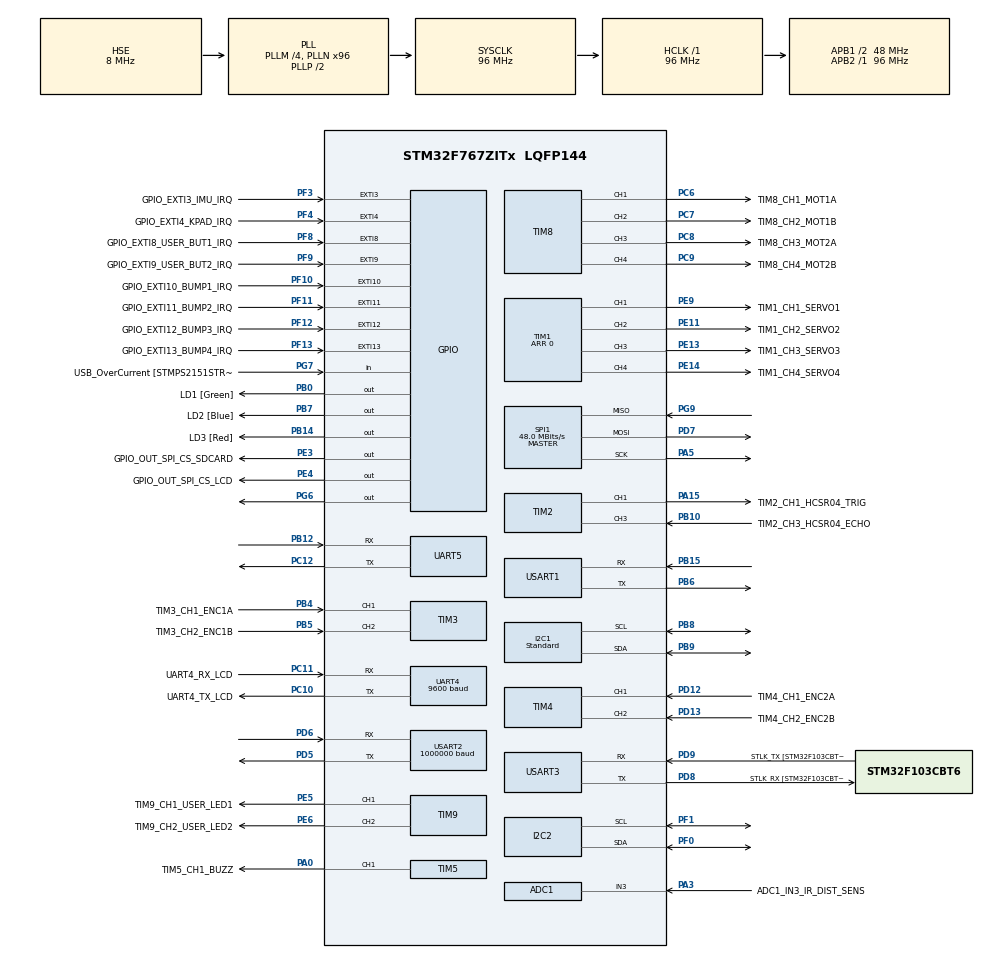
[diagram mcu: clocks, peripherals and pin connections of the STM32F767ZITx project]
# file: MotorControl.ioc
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ADC1.Channel-1\#ChannelRegularConversion=ADC_CHANNEL_3
ADC1.NbrOfConversionFlag=1
ADC1.Rank-1\#ChannelRegularConversion=1
ADC1.SamplingTime-1\#ChannelRegularConversion=ADC_SAMPLETIME_3CYCLES
ADC1.master=1
I2C1.I2C_Speed_Mode=I2C_Standard
I2C1.Timing=0x20303E5D
I2C2.Timing=0x20303E5D
Mcu.Family=STM32F7
Mcu.Name=STM32F767ZITx
Mcu.Package=LQFP144
Mcu.UserConstants=TIM3_ARR_VALUE,3839;TIM4_ARR_VALUE,3839;TIM8_PSC_VALUE,959;TIM8_ARR_VALUE,399;TIM6_PSC_VALUE,959;TIM6_ARR_VALUE,999;TIM1_PSC_VALUE,959;TIM1_ARR_VALUE,1999
NVIC.EXTI4_IRQn=true\:2\:0\:true\:false\:true\:true\:true\:true
NVIC.PriorityGroup=NVIC_PRIORITYGROUP_4
NVIC.TIM6_DAC_IRQn=true\:1\:0\:true\:false\:true\:true\:true\:true
PA0/WKUP.GPIO_Label=TIM5_CH1_BUZZ
PA0/WKUP.Signal=S_TIM5_CH1
PA1.GPIO_Label=RMII_REF_CLK [LAN8742A-CZ-TR_REFCLK0]
PA1.Signal=ETH_REF_CLK
PA10.GPIO_Label=USB_ID
PA10.Signal=USB_OTG_FS_ID
PA11.GPIO_Label=USB_DM
PA11.Signal=USB_OTG_FS_DM
PA12.GPIO_Label=USB_DP
PA12.Signal=USB_OTG_FS_DP
PA13.GPIO_Label=TMS
PA13.Mode=Serial_Wire
PA13.Signal=SYS_JTMS-SWDIO
PA14.GPIO_Label=TCK
PA14.Mode=Serial_Wire
PA14.Signal=SYS_JTCK-SWCLK
PA15.GPIO_Label=TIM2_CH1_HCSR04_TRIG
PA15.Signal=S_TIM2_CH1_ETR
PA2.GPIO_Label=RMII_MDIO [LAN8742A-CZ-TR_MDIO]
PA2.Signal=ETH_MDIO
PA3.GPIO_Label=ADC1_IN3_IR_DIST_SENS
PA3.Signal=ADCx_IN3
PA5.Mode=Full_Duplex_Master
PA5.Signal=SPI1_SCK
PA7.GPIO_Label=RMII_CRS_DV [LAN8742A-CZ-TR_CRS_DV]
PA7.Signal=ETH_CRS_DV
PA8.GPIO_Label=USB_SOF [TP1]
PA8.Signal=USB_OTG_FS_SOF
PA9.GPIO_Label=USB_VBUS
PA9.Signal=USB_OTG_FS_VBUS
PB0.GPIO_Label=LD1 [Green]
PB0.Signal=GPIO_Output
PB10.GPIO_Label=TIM2_CH3_HCSR04_ECHO
PB10.Signal=S_TIM2_CH3
PB12.Mode=Asynchronous
PB12.Signal=UART5_RX
PB13.GPIO_Label=RMII_TXD1 [LAN8742A-CZ-TR_TXD1]
PB13.Signal=ETH_TXD1
PB14.GPIO_Label=LD3 [Red]
PB14.Signal=GPIO_Output
PB15.Mode=Asynchronous
PB15.Signal=USART1_RX
PB3.GPIO_Label=SWO
PB3.Signal=SYS_JTDO-SWO
PB4.GPIO_Label=TIM3_CH1_ENC1A
PB4.Signal=S_TIM3_CH1
PB5.GPIO_Label=TIM3_CH2_ENC1B
PB5.Signal=S_TIM3_CH2
PB6.Mode=Asynchronous
PB6.Signal=USART1_TX
PB7.GPIO_Label=LD2 [Blue]
PB7.Signal=GPIO_Output
PB8.GPIO_Pu=GPIO_PULLUP
PB8.Mode=I2C
PB8.Signal=I2C1_SCL
PB9.GPIO_Pu=GPIO_PULLUP
PB9.Mode=I2C
PB9.Signal=I2C1_SDA
PC1.GPIO_Label=RMII_MDC [LAN8742A-CZ-TR_MDC]
PC1.Signal=ETH_MDC
PC10.GPIO_Label=UART4_TX_LCD
PC10.Mode=Asynchronous
PC10.Signal=UART4_TX
PC11.GPIO_Label=UART4_RX_LCD
PC11.Mode=Asynchronous
PC11.Signal=UART4_RX
PC12.Mode=Asynchronous
PC12.Signal=UART5_TX
PC14/OSC32_IN.Mode=LSE-External-Oscillator
PC14/OSC32_IN.Signal=RCC_OSC32_IN
PC15/OSC32_OUT.Mode=LSE-External-Oscillator
PC15/OSC32_OUT.Signal=RCC_OSC32_OUT
PC4.GPIO_Label=RMII_RXD0 [LAN8742A-CZ-TR_RXD0]
PC4.Signal=ETH_RXD0
PC5.GPIO_Label=RMII_RXD1 [LAN8742A-CZ-TR_RXD1]
PC5.Signal=ETH_RXD1
PC6.GPIO_Label=TIM8_CH1_MOT1A
PC6.Signal=S_TIM8_CH1
PC7.GPIO_Label=TIM8_CH2_MOT1B
PC7.Signal=S_TIM8_CH2
PC8.GPIO_Label=TIM8_CH3_MOT2A
PC8.Signal=S_TIM8_CH3
PC9.GPIO_Label=TIM8_CH4_MOT2B
PC9.Signal=S_TIM8_CH4
PD12.GPIO_Label=TIM4_CH1_ENC2A
PD12.Signal=S_TIM4_CH1
PD13.GPIO_Label=TIM4_CH2_ENC2B
PD13.Signal=S_TIM4_CH2
PD5.Mode=Asynchronous
PD5.Signal=USART2_TX
PD6.Mode=Asynchronous
PD6.Signal=USART2_RX
PD7.Mode=Full_Duplex_Master
PD7.Signal=SPI1_MOSI
PD8.GPIO_Label=STLK_RX [STM32F103CBT6_PA3]
PD8.Mode=Asynchronous
PD8.Signal=USART3_TX
PD9.GPIO_Label=STLK_TX [STM32F103CBT6_PA2]
PD9.Mode=Asynchronous
PD9.Signal=USART3_RX
PE11.GPIO_Label=TIM1_CH2_SERVO2
PE11.Signal=S_TIM1_CH2
PE13.GPIO_Label=TIM1_CH3_SERVO3
PE13.Signal=S_TIM1_CH3
PE14.GPIO_Label=TIM1_CH4_SERVO4
PE14.Signal=S_TIM1_CH4
PE3.GPIO_Label=GPIO_OUT_SPI_CS_SDCARD
PE3.Signal=GPIO_Output
PE4.GPIO_Label=GPIO_OUT_SPI_CS_LCD
PE4.Signal=GPIO_Output
PE5.GPIO_Label=TIM9_CH1_USER_LED1
PE5.Signal=S_TIM9_CH1
PE6.GPIO_Label=TIM9_CH2_USER_LED2
PE6.Signal=S_TIM9_CH2
PE9.GPIO_Label=TIM1_CH1_SERVO1
PE9.Signal=S_TIM1_CH1
PF0.GPIO_Pu=GPIO_PULLUP
PF0.Mode=I2C
PF0.Signal=I2C2_SDA
PF1.GPIO_Pu=GPIO_PULLUP
PF1.Mode=I2C
PF1.Signal=I2C2_SCL
PF10.GPIO_Label=GPIO_EXTI10_BUMP1_IRQ
PF10.Signal=GPXTI10
PF11.GPIO_Label=GPIO_EXTI11_BUMP2_IRQ
PF11.Signal=GPXTI11
PF12.GPIO_Label=GPIO_EXTI12_BUMP3_IRQ
PF12.Signal=GPXTI12
PF13.GPIO_Label=GPIO_EXTI13_BUMP4_IRQ
PF13.Signal=GPXTI13
PF3.GPIO_Label=GPIO_EXTI3_IMU_IRQ
PF3.Signal=GPXTI3
PF4.GPIO_Label=GPIO_EXTI4_KPAD_IRQ
PF4.GPIO_ModeDefaultEXTI=GPIO_MODE_IT_FALLING
PF4.Signal=GPXTI4
PF8.GPIO_Label=GPIO_EXTI8_USER_BUT1_IRQ
PF8.Signal=GPXTI8
PF9.GPIO_Label=GPIO_EXTI9_USER_BUT2_IRQ
PF9.Signal=GPXTI9
PG11.GPIO_Label=RMII_TX_EN [LAN8742A-CZ-TR_TXEN]
PG11.Signal=ETH_TX_EN
PG13.GPIO_Label=RMII_TXD0 [LAN8742A-CZ-TR_TXD0]
PG13.Signal=ETH_TXD0
PG6.Signal=GPIO_Output
PG7.GPIO_Label=USB_OverCurrent [STMPS2151STR_FAULT]
PG7.Signal=GPIO_Input
PG9.Mode=Full_Duplex_Master
PG9.Signal=SPI1_MISO
PH0/OSC_IN.GPIO_Label=MCO [STM32F103CBT6_PA8]
PH0/OSC_IN.Mode=HSE-External-Clock-Source
PH0/OSC_IN.Signal=RCC_OSC_IN
PH1/OSC_OUT.Mode=HSE-External-Clock-Source
PH1/OSC_OUT.Signal=RCC_OSC_OUT
ProjectManager.HeapSize=0x200
ProjectManager.StackSize=0x400
ProjectManager.TargetToolchain=STM32CubeIDE
RCC.48MHZClocksFreq_Value=24000000
RCC.AHBFreq_Value=96000000
RCC.APB1CLKDivider=RCC_HCLK_DIV2
RCC.APB1Freq_Value=48000000
RCC.APB1TimFreq_Value=96000000
RCC.APB2Freq_Value=96000000
RCC.APB2TimFreq_Value=96000000
RCC.CortexFreq_Value=96000000
RCC.HCLKFreq_Value=96000000
RCC.HSE_VALUE=8000000
RCC.HSI_VALUE=16000000
RCC.PLLM=4
RCC.PLLMUL=RCC_PLL_MUL9
RCC.PLLN=96
RCC.PLLQ=4
RCC.PLLSourceVirtual=RCC_PLLSOURCE_HSE
RCC.PRESCALERUSB=RCC_USBCLKSOURCE_PLL_DIV1_5
RCC.SYSCLKFreq_VALUE=96000000
RCC.SYSCLKSource=RCC_SYSCLKSOURCE_PLLCLK
RCC.SYSCLKSourceVirtual=RCC_SYSCLKSOURCE_PLLCLK
RCC.USBFreq_Value=48000000
RCC.VCOOutputFreq_Value=192000000
SH.ADCx_IN3.0=ADC1_IN3,IN3
SH.S_TIM1_CH1.0=TIM1_CH1,Forced Output1 CH1
SH.S_TIM1_CH2.0=TIM1_CH2,Forced Output2 CH2
SH.S_TIM1_CH3.0=TIM1_CH3,Forced Output3 CH3
SH.S_TIM1_CH4.0=TIM1_CH4,Forced Output4 CH4
SH.S_TIM2_CH1_ETR.0=TIM2_CH1,PWM Generation1 CH1
SH.S_TIM2_CH3.0=TIM2_CH3,Input_Capture3_from_TI3
SH.S_TIM3_CH1.0=TIM3_CH1,Encoder_Interface
SH.S_TIM3_CH2.0=TIM3_CH2,Encoder_Interface
SH.S_TIM4_CH1.0=TIM4_CH1,Encoder_Interface
SH.S_TIM4_CH2.0=TIM4_CH2,Encoder_Interface
SH.S_TIM5_CH1.0=TIM5_CH1,PWM Generation1 CH1
SH.S_TIM8_CH1.0=TIM8_CH1,PWM Generation1 CH1
SH.S_TIM8_CH2.0=TIM8_CH2,PWM Generation2 CH2
SH.S_TIM8_CH3.0=TIM8_CH3,PWM Generation3 CH3
SH.S_TIM8_CH4.0=TIM8_CH4,PWM Generation4 CH4
SH.S_TIM9_CH1.0=TIM9_CH1,PWM Generation1 CH1
SH.S_TIM9_CH2.0=TIM9_CH2,PWM Generation2 CH2
SPI1.CalculateBaudRate=48.0 MBits/s
SPI1.Direction=SPI_DIRECTION_2LINES
SPI1.Mode=SPI_MODE_MASTER
SPI1.VirtualType=VM_MASTER
TIM1.Channel-Forced\ Output1\ CH1=TIM_CHANNEL_1
TIM1.Channel-Forced\ Output2\ CH2=TIM_CHANNEL_2
TIM1.Channel-Forced\ Output3\ CH3=TIM_CHANNEL_3
TIM1.Channel-Forced\ Output4\ CH4=TIM_CHANNEL_4
TIM1.OCPolarity_1=TIM_OCPOLARITY_LOW
TIM1.OCPolarity_2=TIM_OCPOLARITY_LOW
TIM1.OCPolarity_3=TIM_OCPOLARITY_LOW
TIM1.OCPolarity_4=TIM_OCPOLARITY_LOW
TIM1.Period=0
TIM2.Channel-Input_Capture3_from_TI3=TIM_CHANNEL_3
TIM2.Channel-PWM\ Generation1\ CH1=TIM_CHANNEL_1
TIM3.EncoderMode=TIM_ENCODERMODE_TI12
TIM3.IC1Filter=15
TIM3.IC2Filter=15
TIM3.Period=TIM3_ARR_VALUE
TIM4.EncoderMode=TIM_ENCODERMODE_TI12
TIM4.IC1Filter=15
TIM4.IC2Filter=15
TIM4.Period=TIM4_ARR_VALUE
TIM5.Channel-PWM\ Generation1\ CH1=TIM_CHANNEL_1
TIM6.Period=TIM6_ARR_VALUE
TIM6.Prescaler=TIM6_PSC_VALUE
TIM8.Channel-PWM\ Generation1\ CH1=TIM_CHANNEL_1
TIM8.Channel-PWM\ Generation2\ CH2=TIM_CHANNEL_2
TIM8.Channel-PWM\ Generation3\ CH3=TIM_CHANNEL_3
TIM8.Channel-PWM\ Generation4\ CH4=TIM_CHANNEL_4
TIM8.Period=TIM8_ARR_VALUE
TIM8.Prescaler=TIM8_PSC_VALUE
TIM9.Channel-PWM\ Generation1\ CH1=TIM_CHANNEL_1
TIM9.Channel-PWM\ Generation2\ CH2=TIM_CHANNEL_2
UART4.BaudRate=9600
USART1.VirtualMode-Asynchronous=VM_ASYNC
USART2.BaudRate=1000000
USART2.VirtualMode-Asynchronous=VM_ASYNC
USART3.VirtualMode-Asynchronous=VM_ASYNC
VP_TIM1_VS_ClockSourceINT.Mode=Internal
VP_TIM2_VS_ClockSourceINT.Mode=Internal
VP_TIM5_VS_ClockSourceINT.Mode=Internal
VP_TIM6_VS_ClockSourceINT.Mode=Enable_Timer
VP_TIM8_VS_ClockSourceINT.Mode=Internal
board=NUCLEO-F767ZI

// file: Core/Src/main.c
/* USER CODE BEGIN Header */
/**
 ******************************************************************************
 * @file           : main.c
 * @brief          : Main program body
 ******************************************************************************
 * @attention
 *
 * <h2><center>&copy; Copyright (c) 2021 STMicroelectronics.
 * All rights reserved.</center></h2>
 *
 * This software component is licensed by ST under BSD 3-Clause license,
 * the "License"; You may not use this file except in compliance with the
 * License. You may obtain a copy of the License at:
 *                        opensource.org/licenses/BSD-3-Clause
 *
 ******************************************************************************
 */
/* USER CODE END Header */
#include "main.h"

/* USER CODE BEGIN Includes */
#include <math.h>
#include <stdbool.h>
#include "ertc-datalogger.h"
#include "SX1509_Registers.h"
#include "SX1509_Utils.h"
/* USER CODE END Includes */

/* USER CODE BEGIN PD */
// #define	HAL_TIMEOUT 1
#define TS 0.01
#define KP1 1.6196
#define KI1 8.9979
#define K_AWD1 0.4242611
#define KP2 1.9574
#define KI2 10.8747
#define K_AWD2 0.4242591

#define VBATT 12.0 /* PSU max voltage */
#define V2DUTY ((float)(TIM8_ARR_VALUE + 1) / VBATT)
#define DUTY2V ((float)VBATT / (TIM8_ARR_VALUE + 1))

#define RPM2RADS 2 * M_PI / 60
#define ENC_PPR 3840.0f                   /* encoder counts per wheel revolution (x4 decoding, gearbox included) */
#define DUTY_MAX 0.5f                     /* lab requirement: duty <= 50 % (6 V on 12 V) */
#define U_MAX ((float)(DUTY_MAX * VBATT)) /* 12V / 2 = 6V */

#define MODE_COAST 0 /* Forward/Coast (fast decay) */
#define MODE_BRAKE 1 /* Forward/Brake (slow decay) */
#define DRIVE_MODE MODE_BRAKE

/* H-bridge inputs on TIM8 and motor orientation */
#define M1_IN1_CH TIM_CHANNEL_1 /* motor 1, encoder TIM3 */
#define M1_IN2_CH TIM_CHANNEL_2
#define M2_IN1_CH TIM_CHANNEL_3 /* motor 2, encoder TIM4 */
#define M2_IN2_CH TIM_CHANNEL_4

/* speed reference */
#define W_DEFAULT 0.0f /* default speed, if none of the keys on the keypad have been pressed */
#define W_MAX 16.0f    /* maximum safety limit in rad/s */
/* USER CODE END PD */

ADC_HandleTypeDef hadc1;

I2C_HandleTypeDef hi2c1;
I2C_HandleTypeDef hi2c2;

SPI_HandleTypeDef hspi1;

TIM_HandleTypeDef htim1;
TIM_HandleTypeDef htim2;
TIM_HandleTypeDef htim3;
TIM_HandleTypeDef htim4;
TIM_HandleTypeDef htim5;
TIM_HandleTypeDef htim6;
TIM_HandleTypeDef htim8;
TIM_HandleTypeDef htim9;

UART_HandleTypeDef huart4;
UART_HandleTypeDef huart5;
UART_HandleTypeDef huart1;
UART_HandleTypeDef huart2;
UART_HandleTypeDef huart3;

/* USER CODE BEGIN PV */
struct ertc_dlog logger;
bool reset_PI1 = true;
bool reset_PI2 = true;

const char keypadLayout[4][4] = {
    {'*', '0', '#', 'D'},
    {'7', '8', '9', 'C'},
    {'4', '5', '6', 'B'},
    {'1', '2', '3', 'A'}};

volatile float w_target_1 = W_DEFAULT;
volatile float w_target_2 = W_DEFAULT;

/* variables for composing the number via the keypad */
static int32_t typed_val = 0;    // digits typed so far
static int8_t typed_sign = 1;    // sign typed so far
static bool is_typing = false;   // true while entering a new speed (sign or digits)
static uint8_t target_motor = 0; // 0 = both, 1 = motor 1, 2 = motor 2
/* USER CODE END PV */

void SystemClock_Config(void);
static void MX_GPIO_Init(void);
static void MX_USART3_UART_Init(void);
static void MX_ADC1_Init(void);
static void MX_I2C1_Init(void);
static void MX_I2C2_Init(void);
static void MX_SPI1_Init(void);
static void MX_TIM1_Init(void);
static void MX_TIM2_Init(void);
static void MX_TIM3_Init(void);
static void MX_TIM4_Init(void);
static void MX_TIM5_Init(void);
static void MX_TIM8_Init(void);
static void MX_UART4_Init(void);
static void MX_UART5_Init(void);
static void MX_USART1_UART_Init(void);
static void MX_USART2_UART_Init(void);
static void MX_TIM9_Init(void);
static void MX_TIM6_Init(void);

/* USER CODE BEGIN 0 */

struct datalog
{
  float w1, w2; /* wheel angular speed [rad/s] */
  float u1, u2; /* applied voltage [V]         */
  float p1, i1;
  float p2, i2;
} data;

static uint32_t TIM3_previous_count = 0, TIM4_previous_count = 0;

/* parses keypad characters to select target motor ('A','B','C'),
 * stop ('D'), set sign/reset ('*'), or confirm speed ('#');
 * custom logic adapted from lab1 */
static void updateSpeedReference(char key)
{
  switch (key)
  {
  case 'A': /* select motor 1 */
    target_motor = 1;
    typed_val = 0;
    typed_sign = 1;
    is_typing = false;
    break;

  case 'B': /* select motor 2 */
    target_motor = 2;
    typed_val = 0;
    typed_sign = 1;
    is_typing = false;
    break;

  case 'C': /* select both motors */
    target_motor = 0;
    typed_val = 0;
    typed_sign = 1;
    is_typing = false;
    break;

  case 'D': /* immediate stop (0 rad/s) */
    w_target_1 = 0.0f;
    w_target_2 = 0.0f;
    typed_val = 0;
    typed_sign = 1;
    is_typing = false;
    break;

  case '*': /* if you are not typing, set the sign to '-', otherwise reset the input */
    if (!is_typing)
    {
      typed_sign = -1;
      is_typing = true;
    }
    else
    {
      typed_val = 0;
      typed_sign = 1;
      is_typing = false;
    }
    break;

  case '#': /* confirm the entered value */
    if (!is_typing)
      return;

    float new_ref = (float)(typed_sign * typed_val);
    if (new_ref > W_MAX) // forward
      new_ref = W_MAX;
    if (new_ref < -W_MAX) // reverse
      new_ref = -W_MAX;

    if (target_motor == 1)
      w_target_1 = new_ref;
    else if (target_motor == 2)
      w_target_2 = new_ref;
    else
    {
      w_target_1 = new_ref;
      w_target_2 = new_ref;
    }

    /* reset of the variables */
    typed_val = 0;
    typed_sign = 1;
    is_typing = false;
    break;

  default:
    if (key < '0' || key > '9') // safety check
      return;
    typed_val = typed_val * 10 + (key - '0');
    is_typing = true;
    break;
  }
}

/* external interrupt callback on PF4: reads row/col from SX1509 via I2C
 * and decodes the pressed key (literally copy-paste from lab1) */
void HAL_GPIO_EXTI_Callback(uint16_t GPIO_Pin)
{
  uint8_t data_col = 0xFF; // buffer for the column's data (0xFF = no key, if the read fails)
  uint8_t data_row = 0xFF; // buffer for the row's data
  char key = 0;            // pressed button on the keypad

  if (GPIO_Pin == GPIO_EXTI4_KPAD_IRQ_Pin)
  {
    HAL_I2C_Mem_Read(&hi2c1, SX1509_I2C_ADDR2 << 1, REG_KEY_DATA_1, 1,
                     &data_col, 1, 10);
    HAL_I2C_Mem_Read(&hi2c1, SX1509_I2C_ADDR2 << 1, REG_KEY_DATA_2, 1,
                     &data_row, 1, 10);

    uint8_t row_bits = (data_col & 0b00001111);
    uint8_t col_bits = (data_row & 0b00001111) << 4;
    uint8_t result = row_bits + col_bits;

    switch (result)
    {
    // first row 0b0111
    case 0b01110111:
      key = keypadLayout[3][3];
      break; // A
    case 0b01111011:
      key = keypadLayout[3][2];
      break; // 3
    case 0b01111101:
      key = keypadLayout[3][1];
      break; // 2
    case 0b01111110:
      key = keypadLayout[3][0];
      break; // 1

    // second row 0b1011
    case 0b10110111:
      key = keypadLayout[2][3];
      break; // B
    case 0b10111011:
      key = keypadLayout[2][2];
      break; // 6
    case 0b10111101:
      key = keypadLayout[2][1];
      break; // 5
    case 0b10111110:
      key = keypadLayout[2][0];
      break; // 4

    // third row 0b1101
    case 0b11010111:
      key = keypadLayout[1][3];
      break; // C
    case 0b11011011:
      key = keypadLayout[1][2];
      break; // 9
    case 0b11011101:
      key = keypadLayout[1][1];
      break; // 8
    case 0b11011110:
      key = keypadLayout[1][0];
      break; // 7

    // fourth row 0b1110
    case 0b11100111:
      key = keypadLayout[0][3];
      break; // D
    case 0b11101011:
      key = keypadLayout[0][2];
      break; // #
    case 0b11101101:
      key = keypadLayout[0][1];
      break; // 0
    case 0b11101110:
      key = keypadLayout[0][0];
      break; // *

    default:
      return;
    }

    updateSpeedReference(key);
  }
}

/* 2π * (d / (ARR * TS)) --> converts from encoder counts to rad/s */
static float counts_to_rads(int32_t d)
{
  return (float)(2.0 * M_PI * (double)d / (ENC_PPR * TS));
}

/* encoder delta: compute the difference in tick */
static int32_t enc_delta(TIM_HandleTypeDef *htim, uint32_t *previous_count)
{
  uint32_t current_count = __HAL_TIM_GET_COUNTER(htim);
  int32_t range = (int32_t)__HAL_TIM_GET_AUTORELOAD(htim) + 1;
  int32_t diff_count = 0;

  /* motor control lecture implementations */
  if (__HAL_TIM_IS_TIM_COUNTING_DOWN(htim))
  {
    if (current_count <= *previous_count)
      diff_count = (int32_t)current_count - (int32_t)(*previous_count);
    else
      /* counter underflow */
      diff_count = -(range - (int32_t)current_count) - (int32_t)(*previous_count);
  }
  else /* COUNTING_UP */
  {
    if (current_count >= *previous_count)
      diff_count = (int32_t)current_count - (int32_t)(*previous_count);
    else
      /* counter overflow */
      diff_count = (range - (int32_t)(*previous_count)) + (int32_t)current_count;
  }

  *previous_count = current_count;
  return diff_count;
}

/* clamps voltage to DUTY_MAX and updates TIM8 PWM compare registers
 * according to the selected drive mode (coast or brake) */
static float motor_set_voltage(uint32_t ch_in1, uint32_t ch_in2, float voltage)
{
  float duty = voltage / (float)VBATT; /* signed duty cycle */

  // safety check
  if (duty > DUTY_MAX)
    duty = DUTY_MAX;
  if (duty < -DUTY_MAX)
    duty = -DUTY_MAX;

  uint32_t full = TIM8_ARR_VALUE + 1u; /* ticks per PWM period */
  /* number of ticks "on" for modulation */
  uint32_t on = (uint32_t)(fabsf(duty) * (float)full);
  uint32_t forward_input_ticks, reverse_input_ticks;

#if DRIVE_MODE == MODE_COAST
  /* IN1 = PWM, IN2 = 0: OFF-time -> both low -> coast */
  forward_input_ticks = on;
  reverse_input_ticks = 0;
#else // DRIVE-BRAKE
  /* IN1 = 1, IN2 = inverted PWM: OFF-time -> both high -> brake */
  forward_input_ticks = full;
  reverse_input_ticks = full - on;
#endif

  if (duty >= 0.0f) /* forward */
  {
    __HAL_TIM_SET_COMPARE(&htim8, ch_in1, forward_input_ticks);
    __HAL_TIM_SET_COMPARE(&htim8, ch_in2, reverse_input_ticks);
  }
  else /* reverse */
  {
    __HAL_TIM_SET_COMPARE(&htim8, ch_in1, reverse_input_ticks);
    __HAL_TIM_SET_COMPARE(&htim8, ch_in2, forward_input_ticks);
  }

  return duty * (float)VBATT; // return the voltage correspondant to the duty cycle
}

/* motor 1 controller */
float PI1(float error)
{
  static float I1 = 0.0f;
  float e_s = 0.0f;
  float P = KP1 * error;

  if (reset_PI1)
  {
    I1 = 0.0f;
    reset_PI1 = false;
  }

  float I1_pred = I1 + KI1 * error * TS;

  data.p1 = P;
  data.i1 = I1;

  float voltage = P + I1_pred;

  /* anti-windup */
  if (voltage > U_MAX)
  {
    e_s = voltage - U_MAX;
    I1 += KI1 * (error - K_AWD1 * e_s) * TS;
  }
  else if (voltage < -U_MAX)
  {
    e_s = voltage + U_MAX;
    I1 += KI1 * (error - K_AWD1 * e_s) * TS;
  }
  else
  {
    I1 += KI1 * error * TS;
  }

  voltage = P + I1;
  return voltage;
}

/* motor 2 controller */
float PI2(float error)
{
  static float I2 = 0.0f;
  float e_s = 0.0f;
  float P = KP2 * error;

  if (reset_PI2)
  {
    I2 = 0.0f;
    reset_PI2 = false;
  }

  float I2_pred = I2 + KI2 * error * TS;

  data.p2 = P;
  data.i2 = I2;

  float voltage = P + I2_pred;

  /* anti-windup */
  if (voltage > U_MAX)
  {
    e_s = voltage - U_MAX;
    I2 += KI2 * (error - K_AWD2 * e_s) * TS;
  }
  else if (voltage < -U_MAX)
  {
    e_s = voltage + U_MAX;
    I2 += KI2 * (error - K_AWD2 * e_s) * TS;
  }
  else
  {
    I2 += KI2 * error * TS;
  }

  voltage = P + I2;
  return voltage;
}

void HAL_TIM_PeriodElapsedCallback(TIM_HandleTypeDef *htim)
{
  static int kLed = 0;

  /* speed ctrl routine */
  if (htim->Instance == TIM6)
  {
    /* PI controller implentation */
    float w1_measured = counts_to_rads(enc_delta(&htim3, &TIM3_previous_count));
    float w2_measured = counts_to_rads(enc_delta(&htim4, &TIM4_previous_count));

    static float w1_ref = 0.0f;
    static float w2_ref = 0.0f;

    if (logger.tx_enable)
    {
      w1_ref = w_target_1;
      w2_ref = w_target_2;
    }
    else
    {
      w1_ref = 0.0f;
      w2_ref = 0.0f;
      reset_PI1 = true; /* I1 = 0 */
      reset_PI2 = true; /* I2 = 0 */
    }

    /* computing the speed error */
    float w1_diff = w1_ref - w1_measured;
    float w2_diff = w2_ref - w2_measured;

    /* take the voltage reference from the PI, one for every motors */
    float v1_ref = PI1(w1_diff);
    float v2_ref = PI2(w2_diff);

    /* set the voltages */
    float u1 = motor_set_voltage(M1_IN1_CH, M1_IN2_CH, v1_ref);
    float u2 = motor_set_voltage(M2_IN1_CH, M2_IN2_CH, v2_ref);

    data.w1 = w1_measured;
    data.w2 = w2_measured;
    data.u1 = u1;
    data.u2 = u2;

    ertc_dlog_send(&logger, &data, sizeof(data));

    // indicate that the program is running
    if (++kLed >= 10)
    {
      kLed = 0;
      HAL_GPIO_TogglePin(LD2_GPIO_Port, LD2_Pin);
    }
  }
}
/* USER CODE END 0 */

int main(void)
{

  /* MCU Configuration--------------------------------------------------------*/

  /* Reset of all peripherals, Initializes the Flash interface and the Systick. */
  HAL_Init();

  /* Configure the system clock */
  SystemClock_Config();

  /* Initialize all configured peripherals */
  MX_GPIO_Init();
  MX_USART3_UART_Init();
  MX_ADC1_Init();
  MX_I2C1_Init();
  MX_I2C2_Init();
  MX_SPI1_Init();
  MX_TIM1_Init();
  MX_TIM2_Init();
  MX_TIM3_Init();
  MX_TIM4_Init();
  MX_TIM5_Init();
  MX_TIM8_Init();
  MX_UART4_Init();
  MX_UART5_Init();
  MX_USART1_UART_Init();
  MX_USART2_UART_Init();
  MX_TIM9_Init();
  MX_TIM6_Init();
  /* USER CODE BEGIN 2 */

  logger.uart_handle = huart3; // for serial
  // logger.uart_handle = huart2; // for wifi

  /* Reset LCD */
  HAL_GPIO_WritePin(GPIO_OUT_SPI_CS_LCD_GPIO_Port, GPIO_OUT_SPI_CS_LCD_Pin,
                    GPIO_PIN_SET);

  HAL_Delay(1000);

  /* initialize SX1509 (keypad + line sensor) */
  Init_SX1509();

  /* Start encoders timers */
  HAL_TIM_Encoder_Start(&htim3, TIM_CHANNEL_ALL);
  HAL_TIM_Encoder_Start(&htim4, TIM_CHANNEL_ALL);
  TIM3_previous_count = __HAL_TIM_GET_COUNTER(&htim3); /* avoid a speed spike at start */
  TIM4_previous_count = __HAL_TIM_GET_COUNTER(&htim4);

  /* Start servomotors PWM (avoid floating inputs to servomotors) */
  HAL_TIM_PWM_Start(&htim1, TIM_CHANNEL_1);
  HAL_TIM_PWM_Start(&htim1, TIM_CHANNEL_2);
  HAL_TIM_PWM_Start(&htim1, TIM_CHANNEL_3);
  HAL_TIM_PWM_Start(&htim1, TIM_CHANNEL_4);

  /* Start motor PWM */
  __HAL_TIM_SET_COMPARE(&htim8, TIM_CHANNEL_1, 0);
  __HAL_TIM_SET_COMPARE(&htim8, TIM_CHANNEL_2, 0);
  __HAL_TIM_SET_COMPARE(&htim8, TIM_CHANNEL_3, 0);
  __HAL_TIM_SET_COMPARE(&htim8, TIM_CHANNEL_4, 0);

  HAL_TIM_PWM_Start(&htim8, TIM_CHANNEL_1);
  HAL_TIM_PWM_Start(&htim8, TIM_CHANNEL_2);
  HAL_TIM_PWM_Start(&htim8, TIM_CHANNEL_3);
  HAL_TIM_PWM_Start(&htim8, TIM_CHANNEL_4);

  // both motors at 0 V in the selected drive mode
  motor_set_voltage(M1_IN1_CH, M1_IN2_CH, 0.0f);
  motor_set_voltage(M2_IN1_CH, M2_IN2_CH, 0.0f);

  /* Start speed ctrl ISR */
  HAL_TIM_Base_Start_IT(&htim6);

  /* USER CODE END 2 */

  /* Infinite loop */
  while (1)
  {

    /* USER CODE BEGIN 3 */
    ertc_dlog_update(&logger);
  }
  /* USER CODE END 3 */
}

void SystemClock_Config(void)
{
  RCC_OscInitTypeDef RCC_OscInitStruct = {0};
  RCC_ClkInitTypeDef RCC_ClkInitStruct = {0};

  /** Configure LSE Drive Capability
   */
  HAL_PWR_EnableBkUpAccess();

  /** Configure the main internal regulator output voltage
   */
  __HAL_RCC_PWR_CLK_ENABLE();
  __HAL_PWR_VOLTAGESCALING_CONFIG(PWR_REGULATOR_VOLTAGE_SCALE3);

  /** Initializes the RCC Oscillators according to the specified parameters
   * in the RCC_OscInitTypeDef structure.
   */
  RCC_OscInitStruct.OscillatorType = RCC_OSCILLATORTYPE_HSE;
  RCC_OscInitStruct.HSEState = RCC_HSE_BYPASS;
  RCC_OscInitStruct.PLL.PLLState = RCC_PLL_ON;
  RCC_OscInitStruct.PLL.PLLSource = RCC_PLLSOURCE_HSE;
  RCC_OscInitStruct.PLL.PLLM = 4;
  RCC_OscInitStruct.PLL.PLLN = 96;
  RCC_OscInitStruct.PLL.PLLP = RCC_PLLP_DIV2;
  RCC_OscInitStruct.PLL.PLLQ = 4;
  RCC_OscInitStruct.PLL.PLLR = 2;
  if (HAL_RCC_OscConfig(&RCC_OscInitStruct) != HAL_OK)
  {
    Error_Handler();
  }

  /** Activate the Over-Drive mode
   */
  if (HAL_PWREx_EnableOverDrive() != HAL_OK)
  {
    Error_Handler();
  }

  /** Initializes the CPU, AHB and APB buses clocks
   */
  RCC_ClkInitStruct.ClockType = RCC_CLOCKTYPE_HCLK | RCC_CLOCKTYPE_SYSCLK | RCC_CLOCKTYPE_PCLK1 | RCC_CLOCKTYPE_PCLK2;
  RCC_ClkInitStruct.SYSCLKSource = RCC_SYSCLKSOURCE_PLLCLK;
  RCC_ClkInitStruct.AHBCLKDivider = RCC_SYSCLK_DIV1;
  RCC_ClkInitStruct.APB1CLKDivider = RCC_HCLK_DIV2;
  RCC_ClkInitStruct.APB2CLKDivider = RCC_HCLK_DIV1;

  if (HAL_RCC_ClockConfig(&RCC_ClkInitStruct, FLASH_LATENCY_3) != HAL_OK)
  {
    Error_Handler();
  }
}

static void MX_ADC1_Init(void)
{

  ADC_ChannelConfTypeDef sConfig = {0};

  /** Configure the global features of the ADC (Clock, Resolution, Data Alignment and number of conversion)
   */
  hadc1.Instance = ADC1;
  hadc1.Init.ClockPrescaler = ADC_CLOCK_SYNC_PCLK_DIV4;
  hadc1.Init.Resolution = ADC_RESOLUTION_12B;
  hadc1.Init.ScanConvMode = ADC_SCAN_DISABLE;
  hadc1.Init.ContinuousConvMode = DISABLE;
  hadc1.Init.DiscontinuousConvMode = DISABLE;
  hadc1.Init.ExternalTrigConvEdge = ADC_EXTERNALTRIGCONVEDGE_NONE;
  hadc1.Init.ExternalTrigConv = ADC_SOFTWARE_START;
  hadc1.Init.DataAlign = ADC_DATAALIGN_RIGHT;
  hadc1.Init.NbrOfConversion = 1;
  hadc1.Init.DMAContinuousRequests = DISABLE;
  hadc1.Init.EOCSelection = ADC_EOC_SINGLE_CONV;
  if (HAL_ADC_Init(&hadc1) != HAL_OK)
  {
    Error_Handler();
  }

  /** Configure for the selected ADC regular channel its corresponding rank in the sequencer and its sample time.
   */
  sConfig.Channel = ADC_CHANNEL_3;
  sConfig.Rank = ADC_REGULAR_RANK_1;
  sConfig.SamplingTime = ADC_SAMPLETIME_3CYCLES;
  if (HAL_ADC_ConfigChannel(&hadc1, &sConfig) != HAL_OK)
  {
    Error_Handler();
  }
}

static void MX_I2C1_Init(void)
{

  hi2c1.Instance = I2C1;
  hi2c1.Init.Timing = 0x20303E5D;
  hi2c1.Init.OwnAddress1 = 0;
  hi2c1.Init.AddressingMode = I2C_ADDRESSINGMODE_7BIT;
  hi2c1.Init.DualAddressMode = I2C_DUALADDRESS_DISABLE;
  hi2c1.Init.OwnAddress2 = 0;
  hi2c1.Init.OwnAddress2Masks = I2C_OA2_NOMASK;
  hi2c1.Init.GeneralCallMode = I2C_GENERALCALL_DISABLE;
  hi2c1.Init.NoStretchMode = I2C_NOSTRETCH_DISABLE;
  if (HAL_I2C_Init(&hi2c1) != HAL_OK)
  {
    Error_Handler();
  }

  /** Configure Analogue filter
   */
  if (HAL_I2CEx_ConfigAnalogFilter(&hi2c1, I2C_ANALOGFILTER_ENABLE) != HAL_OK)
  {
    Error_Handler();
  }

  /** Configure Digital filter
   */
  if (HAL_I2CEx_ConfigDigitalFilter(&hi2c1, 0) != HAL_OK)
  {
    Error_Handler();
  }
}

static void MX_I2C2_Init(void)
{

  hi2c2.Instance = I2C2;
  hi2c2.Init.Timing = 0x20303E5D;
  hi2c2.Init.OwnAddress1 = 0;
  hi2c2.Init.AddressingMode = I2C_ADDRESSINGMODE_7BIT;
  hi2c2.Init.DualAddressMode = I2C_DUALADDRESS_DISABLE;
  hi2c2.Init.OwnAddress2 = 0;
  hi2c2.Init.OwnAddress2Masks = I2C_OA2_NOMASK;
  hi2c2.Init.GeneralCallMode = I2C_GENERALCALL_DISABLE;
  hi2c2.Init.NoStretchMode = I2C_NOSTRETCH_DISABLE;
  if (HAL_I2C_Init(&hi2c2) != HAL_OK)
  {
    Error_Handler();
  }

  /** Configure Analogue filter
   */
  if (HAL_I2CEx_ConfigAnalogFilter(&hi2c2, I2C_ANALOGFILTER_ENABLE) != HAL_OK)
  {
    Error_Handler();
  }

  /** Configure Digital filter
   */
  if (HAL_I2CEx_ConfigDigitalFilter(&hi2c2, 0) != HAL_OK)
  {
    Error_Handler();
  }
}

static void MX_SPI1_Init(void)
{

  /* SPI1 parameter configuration*/
  hspi1.Instance = SPI1;
  hspi1.Init.Mode = SPI_MODE_MASTER;
  hspi1.Init.Direction = SPI_DIRECTION_2LINES;
  hspi1.Init.DataSize = SPI_DATASIZE_4BIT;
  hspi1.Init.CLKPolarity = SPI_POLARITY_LOW;
  hspi1.Init.CLKPhase = SPI_PHASE_1EDGE;
  hspi1.Init.NSS = SPI_NSS_SOFT;
  hspi1.Init.BaudRatePrescaler = SPI_BAUDRATEPRESCALER_2;
  hspi1.Init.FirstBit = SPI_FIRSTBIT_MSB;
  hspi1.Init.TIMode = SPI_TIMODE_DISABLE;
  hspi1.Init.CRCCalculation = SPI_CRCCALCULATION_DISABLE;
  hspi1.Init.CRCPolynomial = 7;
  hspi1.Init.CRCLength = SPI_CRC_LENGTH_DATASIZE;
  hspi1.Init.NSSPMode = SPI_NSS_PULSE_ENABLE;
  if (HAL_SPI_Init(&hspi1) != HAL_OK)
  {
    Error_Handler();
  }
}

static void MX_TIM1_Init(void)
{

  TIM_ClockConfigTypeDef sClockSourceConfig = {0};
  TIM_MasterConfigTypeDef sMasterConfig = {0};
  TIM_OC_InitTypeDef sConfigOC = {0};
  TIM_BreakDeadTimeConfigTypeDef sBreakDeadTimeConfig = {0};

  htim1.Instance = TIM1;
  htim1.Init.Prescaler = 0;
  htim1.Init.CounterMode = TIM_COUNTERMODE_UP;
  htim1.Init.Period = 0;
  htim1.Init.ClockDivision = TIM_CLOCKDIVISION_DIV1;
  htim1.Init.RepetitionCounter = 0;
  htim1.Init.AutoReloadPreload = TIM_AUTORELOAD_PRELOAD_DISABLE;
  if (HAL_TIM_Base_Init(&htim1) != HAL_OK)
  {
    Error_Handler();
  }
  sClockSourceConfig.ClockSource = TIM_CLOCKSOURCE_INTERNAL;
  if (HAL_TIM_ConfigClockSource(&htim1, &sClockSourceConfig) != HAL_OK)
  {
    Error_Handler();
  }
  if (HAL_TIM_OC_Init(&htim1) != HAL_OK)
  {
    Error_Handler();
  }
  sMasterConfig.MasterOutputTrigger = TIM_TRGO_RESET;
  sMasterConfig.MasterOutputTrigger2 = TIM_TRGO2_RESET;
  sMasterConfig.MasterSlaveMode = TIM_MASTERSLAVEMODE_DISABLE;
  if (HAL_TIMEx_MasterConfigSynchronization(&htim1, &sMasterConfig) != HAL_OK)
  {
    Error_Handler();
  }
  sConfigOC.OCMode = TIM_OCMODE_FORCED_ACTIVE;
  sConfigOC.Pulse = 0;
  sConfigOC.OCPolarity = TIM_OCPOLARITY_LOW;
  sConfigOC.OCNPolarity = TIM_OCNPOLARITY_HIGH;
  sConfigOC.OCFastMode = TIM_OCFAST_DISABLE;
  sConfigOC.OCIdleState = TIM_OCIDLESTATE_RESET;
  sConfigOC.OCNIdleState = TIM_OCNIDLESTATE_RESET;
  if (HAL_TIM_OC_ConfigChannel(&htim1, &sConfigOC, TIM_CHANNEL_1) != HAL_OK)
  {
    Error_Handler();
  }
  if (HAL_TIM_OC_ConfigChannel(&htim1, &sConfigOC, TIM_CHANNEL_2) != HAL_OK)
  {
    Error_Handler();
  }
  if (HAL_TIM_OC_ConfigChannel(&htim1, &sConfigOC, TIM_CHANNEL_3) != HAL_OK)
  {
    Error_Handler();
  }
  if (HAL_TIM_OC_ConfigChannel(&htim1, &sConfigOC, TIM_CHANNEL_4) != HAL_OK)
  {
    Error_Handler();
  }
  sBreakDeadTimeConfig.OffStateRunMode = TIM_OSSR_DISABLE;
  sBreakDeadTimeConfig.OffStateIDLEMode = TIM_OSSI_DISABLE;
  sBreakDeadTimeConfig.LockLevel = TIM_LOCKLEVEL_OFF;
  sBreakDeadTimeConfig.DeadTime = 0;
  sBreakDeadTimeConfig.BreakState = TIM_BREAK_DISABLE;
  sBreakDeadTimeConfig.BreakPolarity = TIM_BREAKPOLARITY_HIGH;
  sBreakDeadTimeConfig.BreakFilter = 0;
  sBreakDeadTimeConfig.Break2State = TIM_BREAK2_DISABLE;
  sBreakDeadTimeConfig.Break2Polarity = TIM_BREAK2POLARITY_HIGH;
  sBreakDeadTimeConfig.Break2Filter = 0;
  sBreakDeadTimeConfig.AutomaticOutput = TIM_AUTOMATICOUTPUT_DISABLE;
  if (HAL_TIMEx_ConfigBreakDeadTime(&htim1, &sBreakDeadTimeConfig) != HAL_OK)
  {
    Error_Handler();
  }
  HAL_TIM_MspPostInit(&htim1);
}

static void MX_TIM2_Init(void)
{

  TIM_ClockConfigTypeDef sClockSourceConfig = {0};
  TIM_MasterConfigTypeDef sMasterConfig = {0};
  TIM_OC_InitTypeDef sConfigOC = {0};
  TIM_IC_InitTypeDef sConfigIC = {0};

  htim2.Instance = TIM2;
  htim2.Init.Prescaler = 0;
  htim2.Init.CounterMode = TIM_COUNTERMODE_UP;
  htim2.Init.Period = 4294967295;
  htim2.Init.ClockDivision = TIM_CLOCKDIVISION_DIV1;
  htim2.Init.AutoReloadPreload = TIM_AUTORELOAD_PRELOAD_DISABLE;
  if (HAL_TIM_Base_Init(&htim2) != HAL_OK)
  {
    Error_Handler();
  }
  sClockSourceConfig.ClockSource = TIM_CLOCKSOURCE_INTERNAL;
  if (HAL_TIM_ConfigClockSource(&htim2, &sClockSourceConfig) != HAL_OK)
  {
    Error_Handler();
  }
  if (HAL_TIM_PWM_Init(&htim2) != HAL_OK)
  {
    Error_Handler();
  }
  if (HAL_TIM_IC_Init(&htim2) != HAL_OK)
  {
    Error_Handler();
  }
  sMasterConfig.MasterOutputTrigger = TIM_TRGO_RESET;
  sMasterConfig.MasterSlaveMode = TIM_MASTERSLAVEMODE_DISABLE;
  if (HAL_TIMEx_MasterConfigSynchronization(&htim2, &sMasterConfig) != HAL_OK)
  {
    Error_Handler();
  }
  sConfigOC.OCMode = TIM_OCMODE_PWM1;
  sConfigOC.Pulse = 0;
  sConfigOC.OCPolarity = TIM_OCPOLARITY_HIGH;
  sConfigOC.OCFastMode = TIM_OCFAST_DISABLE;
  if (HAL_TIM_PWM_ConfigChannel(&htim2, &sConfigOC, TIM_CHANNEL_1) != HAL_OK)
  {
    Error_Handler();
  }
  sConfigIC.ICPolarity = TIM_INPUTCHANNELPOLARITY_RISING;
  sConfigIC.ICSelection = TIM_ICSELECTION_DIRECTTI;
  sConfigIC.ICPrescaler = TIM_ICPSC_DIV1;
  sConfigIC.ICFilter = 0;
  if (HAL_TIM_IC_ConfigChannel(&htim2, &sConfigIC, TIM_CHANNEL_3) != HAL_OK)
  {
    Error_Handler();
  }
  HAL_TIM_MspPostInit(&htim2);
}

static void MX_TIM3_Init(void)
{

  TIM_Encoder_InitTypeDef sConfig = {0};
  TIM_MasterConfigTypeDef sMasterConfig = {0};

  htim3.Instance = TIM3;
  htim3.Init.Prescaler = 0;
  htim3.Init.CounterMode = TIM_COUNTERMODE_UP;
  htim3.Init.Period = TIM3_ARR_VALUE;
  htim3.Init.ClockDivision = TIM_CLOCKDIVISION_DIV1;
  htim3.Init.AutoReloadPreload = TIM_AUTORELOAD_PRELOAD_DISABLE;
  sConfig.EncoderMode = TIM_ENCODERMODE_TI12;
  sConfig.IC1Polarity = TIM_ICPOLARITY_RISING;
  sConfig.IC1Selection = TIM_ICSELECTION_DIRECTTI;
  sConfig.IC1Prescaler = TIM_ICPSC_DIV1;
  sConfig.IC1Filter = 15;
  sConfig.IC2Polarity = TIM_ICPOLARITY_RISING;
  sConfig.IC2Selection = TIM_ICSELECTION_DIRECTTI;
  sConfig.IC2Prescaler = TIM_ICPSC_DIV1;
  sConfig.IC2Filter = 15;
  if (HAL_TIM_Encoder_Init(&htim3, &sConfig) != HAL_OK)
  {
    Error_Handler();
  }
  sMasterConfig.MasterOutputTrigger = TIM_TRGO_RESET;
  sMasterConfig.MasterSlaveMode = TIM_MASTERSLAVEMODE_DISABLE;
  if (HAL_TIMEx_MasterConfigSynchronization(&htim3, &sMasterConfig) != HAL_OK)
  {
    Error_Handler();
  }
}

static void MX_TIM4_Init(void)
{

  TIM_Encoder_InitTypeDef sConfig = {0};
  TIM_MasterConfigTypeDef sMasterConfig = {0};

  htim4.Instance = TIM4;
  htim4.Init.Prescaler = 0;
  htim4.Init.CounterMode = TIM_COUNTERMODE_UP;
  htim4.Init.Period = TIM4_ARR_VALUE;
  htim4.Init.ClockDivision = TIM_CLOCKDIVISION_DIV1;
  htim4.Init.AutoReloadPreload = TIM_AUTORELOAD_PRELOAD_DISABLE;
  sConfig.EncoderMode = TIM_ENCODERMODE_TI12;
  sConfig.IC1Polarity = TIM_ICPOLARITY_RISING;
  sConfig.IC1Selection = TIM_ICSELECTION_DIRECTTI;
  sConfig.IC1Prescaler = TIM_ICPSC_DIV1;
  sConfig.IC1Filter = 15;
  sConfig.IC2Polarity = TIM_ICPOLARITY_RISING;
  sConfig.IC2Selection = TIM_ICSELECTION_DIRECTTI;
  sConfig.IC2Prescaler = TIM_ICPSC_DIV1;
  sConfig.IC2Filter = 15;
  if (HAL_TIM_Encoder_Init(&htim4, &sConfig) != HAL_OK)
  {
    Error_Handler();
  }
  sMasterConfig.MasterOutputTrigger = TIM_TRGO_RESET;
  sMasterConfig.MasterSlaveMode = TIM_MASTERSLAVEMODE_DISABLE;
  if (HAL_TIMEx_MasterConfigSynchronization(&htim4, &sMasterConfig) != HAL_OK)
  {
    Error_Handler();
  }
}

static void MX_TIM5_Init(void)
{

  TIM_ClockConfigTypeDef sClockSourceConfig = {0};
  TIM_MasterConfigTypeDef sMasterConfig = {0};
  TIM_OC_InitTypeDef sConfigOC = {0};

  htim5.Instance = TIM5;
  htim5.Init.Prescaler = 0;
  htim5.Init.CounterMode = TIM_COUNTERMODE_UP;
  htim5.Init.Period = 4294967295;
  htim5.Init.ClockDivision = TIM_CLOCKDIVISION_DIV1;
  htim5.Init.AutoReloadPreload = TIM_AUTORELOAD_PRELOAD_DISABLE;
  if (HAL_TIM_Base_Init(&htim5) != HAL_OK)
  {
    Error_Handler();
  }
  sClockSourceConfig.ClockSource = TIM_CLOCKSOURCE_INTERNAL;
  if (HAL_TIM_ConfigClockSource(&htim5, &sClockSourceConfig) != HAL_OK)
  {
    Error_Handler();
  }
  if (HAL_TIM_PWM_Init(&htim5) != HAL_OK)
  {
    Error_Handler();
  }
  sMasterConfig.MasterOutputTrigger = TIM_TRGO_RESET;
  sMasterConfig.MasterSlaveMode = TIM_MASTERSLAVEMODE_DISABLE;
  if (HAL_TIMEx_MasterConfigSynchronization(&htim5, &sMasterConfig) != HAL_OK)
  {
    Error_Handler();
  }
  sConfigOC.OCMode = TIM_OCMODE_PWM1;
  sConfigOC.Pulse = 0;
  sConfigOC.OCPolarity = TIM_OCPOLARITY_HIGH;
  sConfigOC.OCFastMode = TIM_OCFAST_DISABLE;
  if (HAL_TIM_PWM_ConfigChannel(&htim5, &sConfigOC, TIM_CHANNEL_1) != HAL_OK)
  {
    Error_Handler();
  }
  HAL_TIM_MspPostInit(&htim5);
}

static void MX_TIM6_Init(void)
{

  TIM_MasterConfigTypeDef sMasterConfig = {0};

  htim6.Instance = TIM6;
  htim6.Init.Prescaler = TIM6_PSC_VALUE;
  htim6.Init.CounterMode = TIM_COUNTERMODE_UP;
  htim6.Init.Period = TIM6_ARR_VALUE;
  htim6.Init.AutoReloadPreload = TIM_AUTORELOAD_PRELOAD_DISABLE;
  if (HAL_TIM_Base_Init(&htim6) != HAL_OK)
  {
    Error_Handler();
  }
  sMasterConfig.MasterOutputTrigger = TIM_TRGO_RESET;
  sMasterConfig.MasterSlaveMode = TIM_MASTERSLAVEMODE_DISABLE;
  if (HAL_TIMEx_MasterConfigSynchronization(&htim6, &sMasterConfig) != HAL_OK)
  {
    Error_Handler();
  }
}

static void MX_TIM8_Init(void)
{

  TIM_ClockConfigTypeDef sClockSourceConfig = {0};
  TIM_MasterConfigTypeDef sMasterConfig = {0};
  TIM_OC_InitTypeDef sConfigOC = {0};
  TIM_BreakDeadTimeConfigTypeDef sBreakDeadTimeConfig = {0};

  htim8.Instance = TIM8;
  htim8.Init.Prescaler = TIM8_PSC_VALUE;
  htim8.Init.CounterMode = TIM_COUNTERMODE_UP;
  htim8.Init.Period = TIM8_ARR_VALUE;
  htim8.Init.ClockDivision = TIM_CLOCKDIVISION_DIV1;
  htim8.Init.RepetitionCounter = 0;
  htim8.Init.AutoReloadPreload = TIM_AUTORELOAD_PRELOAD_DISABLE;
  if (HAL_TIM_Base_Init(&htim8) != HAL_OK)
  {
    Error_Handler();
  }
  sClockSourceConfig.ClockSource = TIM_CLOCKSOURCE_INTERNAL;
  if (HAL_TIM_ConfigClockSource(&htim8, &sClockSourceConfig) != HAL_OK)
  {
    Error_Handler();
  }
  if (HAL_TIM_PWM_Init(&htim8) != HAL_OK)
  {
    Error_Handler();
  }
  sMasterConfig.MasterOutputTrigger = TIM_TRGO_RESET;
  sMasterConfig.MasterOutputTrigger2 = TIM_TRGO2_RESET;
  sMasterConfig.MasterSlaveMode = TIM_MASTERSLAVEMODE_DISABLE;
  if (HAL_TIMEx_MasterConfigSynchronization(&htim8, &sMasterConfig) != HAL_OK)
  {
    Error_Handler();
  }
  sConfigOC.OCMode = TIM_OCMODE_PWM1;
  sConfigOC.Pulse = 0;
  sConfigOC.OCPolarity = TIM_OCPOLARITY_HIGH;
  sConfigOC.OCNPolarity = TIM_OCNPOLARITY_HIGH;
  sConfigOC.OCFastMode = TIM_OCFAST_DISABLE;
  sConfigOC.OCIdleState = TIM_OCIDLESTATE_RESET;
  sConfigOC.OCNIdleState = TIM_OCNIDLESTATE_RESET;
  if (HAL_TIM_PWM_ConfigChannel(&htim8, &sConfigOC, TIM_CHANNEL_1) != HAL_OK)
  {
    Error_Handler();
  }
  if (HAL_TIM_PWM_ConfigChannel(&htim8, &sConfigOC, TIM_CHANNEL_2) != HAL_OK)
  {
    Error_Handler();
  }
  if (HAL_TIM_PWM_ConfigChannel(&htim8, &sConfigOC, TIM_CHANNEL_3) != HAL_OK)
  {
    Error_Handler();
  }
  if (HAL_TIM_PWM_ConfigChannel(&htim8, &sConfigOC, TIM_CHANNEL_4) != HAL_OK)
  {
    Error_Handler();
  }
  sBreakDeadTimeConfig.OffStateRunMode = TIM_OSSR_DISABLE;
  sBreakDeadTimeConfig.OffStateIDLEMode = TIM_OSSI_DISABLE;
  sBreakDeadTimeConfig.LockLevel = TIM_LOCKLEVEL_OFF;
  sBreakDeadTimeConfig.DeadTime = 0;
  sBreakDeadTimeConfig.BreakState = TIM_BREAK_DISABLE;
  sBreakDeadTimeConfig.BreakPolarity = TIM_BREAKPOLARITY_HIGH;
  sBreakDeadTimeConfig.BreakFilter = 0;
  sBreakDeadTimeConfig.Break2State = TIM_BREAK2_DISABLE;
  sBreakDeadTimeConfig.Break2Polarity = TIM_BREAK2POLARITY_HIGH;
  sBreakDeadTimeConfig.Break2Filter = 0;
  sBreakDeadTimeConfig.AutomaticOutput = TIM_AUTOMATICOUTPUT_DISABLE;
  if (HAL_TIMEx_ConfigBreakDeadTime(&htim8, &sBreakDeadTimeConfig) != HAL_OK)
  {
    Error_Handler();
  }
  HAL_TIM_MspPostInit(&htim8);
}

static void MX_TIM9_Init(void)
{

  TIM_OC_InitTypeDef sConfigOC = {0};

  htim9.Instance = TIM9;
  htim9.Init.Prescaler = 0;
  htim9.Init.CounterMode = TIM_COUNTERMODE_UP;
  htim9.Init.Period = 65535;
  htim9.Init.ClockDivision = TIM_CLOCKDIVISION_DIV1;
  htim9.Init.AutoReloadPreload = TIM_AUTORELOAD_PRELOAD_DISABLE;
  if (HAL_TIM_PWM_Init(&htim9) != HAL_OK)
  {
    Error_Handler();
  }
  sConfigOC.OCMode = TIM_OCMODE_PWM1;
  sConfigOC.Pulse = 0;
  sConfigOC.OCPolarity = TIM_OCPOLARITY_HIGH;
  sConfigOC.OCFastMode = TIM_OCFAST_DISABLE;
  if (HAL_TIM_PWM_ConfigChannel(&htim9, &sConfigOC, TIM_CHANNEL_1) != HAL_OK)
  {
    Error_Handler();
  }
  if (HAL_TIM_PWM_ConfigChannel(&htim9, &sConfigOC, TIM_CHANNEL_2) != HAL_OK)
  {
    Error_Handler();
  }
  HAL_TIM_MspPostInit(&htim9);
}

static void MX_UART4_Init(void)
{

  huart4.Instance = UART4;
  huart4.Init.BaudRate = 9600;
  huart4.Init.WordLength = UART_WORDLENGTH_8B;
  huart4.Init.StopBits = UART_STOPBITS_1;
  huart4.Init.Parity = UART_PARITY_NONE;
  huart4.Init.Mode = UART_MODE_TX_RX;
  huart4.Init.HwFlowCtl = UART_HWCONTROL_NONE;
  huart4.Init.OverSampling = UART_OVERSAMPLING_16;
  huart4.Init.OneBitSampling = UART_ONE_BIT_SAMPLE_DISABLE;
  huart4.AdvancedInit.AdvFeatureInit = UART_ADVFEATURE_NO_INIT;
  if (HAL_UART_Init(&huart4) != HAL_OK)
  {
    Error_Handler();
  }
}

static void MX_UART5_Init(void)
{

  huart5.Instance = UART5;
  huart5.Init.BaudRate = 115200;
  huart5.Init.WordLength = UART_WORDLENGTH_8B;
  huart5.Init.StopBits = UART_STOPBITS_1;
  huart5.Init.Parity = UART_PARITY_NONE;
  huart5.Init.Mode = UART_MODE_TX_RX;
  huart5.Init.HwFlowCtl = UART_HWCONTROL_NONE;
  huart5.Init.OverSampling = UART_OVERSAMPLING_16;
  huart5.Init.OneBitSampling = UART_ONE_BIT_SAMPLE_DISABLE;
  huart5.AdvancedInit.AdvFeatureInit = UART_ADVFEATURE_NO_INIT;
  if (HAL_UART_Init(&huart5) != HAL_OK)
  {
    Error_Handler();
  }
}

static void MX_USART1_UART_Init(void)
{

  huart1.Instance = USART1;
  huart1.Init.BaudRate = 115200;
  huart1.Init.WordLength = UART_WORDLENGTH_8B;
  huart1.Init.StopBits = UART_STOPBITS_1;
  huart1.Init.Parity = UART_PARITY_NONE;
  huart1.Init.Mode = UART_MODE_TX_RX;
  huart1.Init.HwFlowCtl = UART_HWCONTROL_NONE;
  huart1.Init.OverSampling = UART_OVERSAMPLING_16;
  huart1.Init.OneBitSampling = UART_ONE_BIT_SAMPLE_DISABLE;
  huart1.AdvancedInit.AdvFeatureInit = UART_ADVFEATURE_NO_INIT;
  if (HAL_UART_Init(&huart1) != HAL_OK)
  {
    Error_Handler();
  }
}

static void MX_USART2_UART_Init(void)
{

  huart2.Instance = USART2;
  huart2.Init.BaudRate = 1000000;
  huart2.Init.WordLength = UART_WORDLENGTH_8B;
  huart2.Init.StopBits = UART_STOPBITS_1;
  huart2.Init.Parity = UART_PARITY_NONE;
  huart2.Init.Mode = UART_MODE_TX_RX;
  huart2.Init.HwFlowCtl = UART_HWCONTROL_NONE;
  huart2.Init.OverSampling = UART_OVERSAMPLING_16;
  huart2.Init.OneBitSampling = UART_ONE_BIT_SAMPLE_DISABLE;
  huart2.AdvancedInit.AdvFeatureInit = UART_ADVFEATURE_NO_INIT;
  if (HAL_UART_Init(&huart2) != HAL_OK)
  {
    Error_Handler();
  }
}

static void MX_USART3_UART_Init(void)
{

  huart3.Instance = USART3;
  huart3.Init.BaudRate = 115200;
  huart3.Init.WordLength = UART_WORDLENGTH_8B;
  huart3.Init.StopBits = UART_STOPBITS_1;
  huart3.Init.Parity = UART_PARITY_NONE;
  huart3.Init.Mode = UART_MODE_TX_RX;
  huart3.Init.HwFlowCtl = UART_HWCONTROL_NONE;
  huart3.Init.OverSampling = UART_OVERSAMPLING_16;
  huart3.Init.OneBitSampling = UART_ONE_BIT_SAMPLE_DISABLE;
  huart3.AdvancedInit.AdvFeatureInit = UART_ADVFEATURE_NO_INIT;
  if (HAL_UART_Init(&huart3) != HAL_OK)
  {
    Error_Handler();
  }
}

static void MX_GPIO_Init(void)
{
  GPIO_InitTypeDef GPIO_InitStruct = {0};

  /* GPIO Ports Clock Enable */
  __HAL_RCC_GPIOE_CLK_ENABLE();
  __HAL_RCC_GPIOC_CLK_ENABLE();
  __HAL_RCC_GPIOF_CLK_ENABLE();
  __HAL_RCC_GPIOH_CLK_ENABLE();
  __HAL_RCC_GPIOA_CLK_ENABLE();
  __HAL_RCC_GPIOB_CLK_ENABLE();
  __HAL_RCC_GPIOD_CLK_ENABLE();
  __HAL_RCC_GPIOG_CLK_ENABLE();

  /*Configure GPIO pin Output Level */
  HAL_GPIO_WritePin(GPIOE, GPIO_OUT_SPI_CS_SDCARD_Pin | GPIO_OUT_SPI_CS_LCD_Pin, GPIO_PIN_RESET);

  /*Configure GPIO pin Output Level */
  HAL_GPIO_WritePin(GPIOB, LD1_Pin | LD3_Pin | LD2_Pin, GPIO_PIN_RESET);

  /*Configure GPIO pin Output Level */
  HAL_GPIO_WritePin(GPIOG, GPIO_PIN_6, GPIO_PIN_RESET);

  /*Configure GPIO pins : GPIO_OUT_SPI_CS_SDCARD_Pin GPIO_OUT_SPI_CS_LCD_Pin */
  GPIO_InitStruct.Pin = GPIO_OUT_SPI_CS_SDCARD_Pin | GPIO_OUT_SPI_CS_LCD_Pin;
  GPIO_InitStruct.Mode = GPIO_MODE_OUTPUT_PP;
  GPIO_InitStruct.Pull = GPIO_NOPULL;
  GPIO_InitStruct.Speed = GPIO_SPEED_FREQ_LOW;
  HAL_GPIO_Init(GPIOE, &GPIO_InitStruct);

  /*Configure GPIO pins : GPIO_EXTI3_IMU_IRQ_Pin GPIO_EXTI8_USER_BUT1_IRQ_Pin GPIO_EXTI9_USER_BUT2_IRQ_Pin GPIO_EXTI10_BUMP1_IRQ_Pin
                           GPIO_EXTI11_BUMP2_IRQ_Pin GPIO_EXTI12_BUMP3_IRQ_Pin GPIO_EXTI13_BUMP4_IRQ_Pin */
  GPIO_InitStruct.Pin = GPIO_EXTI3_IMU_IRQ_Pin | GPIO_EXTI8_USER_BUT1_IRQ_Pin | GPIO_EXTI9_USER_BUT2_IRQ_Pin | GPIO_EXTI10_BUMP1_IRQ_Pin | GPIO_EXTI11_BUMP2_IRQ_Pin | GPIO_EXTI12_BUMP3_IRQ_Pin | GPIO_EXTI13_BUMP4_IRQ_Pin;
  GPIO_InitStruct.Mode = GPIO_MODE_IT_RISING;
  GPIO_InitStruct.Pull = GPIO_NOPULL;
  HAL_GPIO_Init(GPIOF, &GPIO_InitStruct);

  /*Configure GPIO pin : GPIO_EXTI4_KPAD_IRQ_Pin */
  GPIO_InitStruct.Pin = GPIO_EXTI4_KPAD_IRQ_Pin;
  GPIO_InitStruct.Mode = GPIO_MODE_IT_FALLING;
  GPIO_InitStruct.Pull = GPIO_NOPULL;
  HAL_GPIO_Init(GPIO_EXTI4_KPAD_IRQ_GPIO_Port, &GPIO_InitStruct);

  /*Configure GPIO pins : RMII_MDC_Pin RMII_RXD0_Pin RMII_RXD1_Pin */
  GPIO_InitStruct.Pin = RMII_MDC_Pin | RMII_RXD0_Pin | RMII_RXD1_Pin;
  GPIO_InitStruct.Mode = GPIO_MODE_AF_PP;
  GPIO_InitStruct.Pull = GPIO_NOPULL;
  GPIO_InitStruct.Speed = GPIO_SPEED_FREQ_VERY_HIGH;
  GPIO_InitStruct.Alternate = GPIO_AF11_ETH;
  HAL_GPIO_Init(GPIOC, &GPIO_InitStruct);

  /*Configure GPIO pins : RMII_REF_CLK_Pin RMII_MDIO_Pin RMII_CRS_DV_Pin */
  GPIO_InitStruct.Pin = RMII_REF_CLK_Pin | RMII_MDIO_Pin | RMII_CRS_DV_Pin;
  GPIO_InitStruct.Mode = GPIO_MODE_AF_PP;
  GPIO_InitStruct.Pull = GPIO_NOPULL;
  GPIO_InitStruct.Speed = GPIO_SPEED_FREQ_VERY_HIGH;
  GPIO_InitStruct.Alternate = GPIO_AF11_ETH;
  HAL_GPIO_Init(GPIOA, &GPIO_InitStruct);

  /*Configure GPIO pins : LD1_Pin LD3_Pin LD2_Pin */
  GPIO_InitStruct.Pin = LD1_Pin | LD3_Pin | LD2_Pin;
  GPIO_InitStruct.Mode = GPIO_MODE_OUTPUT_PP;
  GPIO_InitStruct.Pull = GPIO_NOPULL;
  GPIO_InitStruct.Speed = GPIO_SPEED_FREQ_LOW;
  HAL_GPIO_Init(GPIOB, &GPIO_InitStruct);

  /*Configure GPIO pin : RMII_TXD1_Pin */
  GPIO_InitStruct.Pin = RMII_TXD1_Pin;
  GPIO_InitStruct.Mode = GPIO_MODE_AF_PP;
  GPIO_InitStruct.Pull = GPIO_NOPULL;
  GPIO_InitStruct.Speed = GPIO_SPEED_FREQ_VERY_HIGH;
  GPIO_InitStruct.Alternate = GPIO_AF11_ETH;
  HAL_GPIO_Init(RMII_TXD1_GPIO_Port, &GPIO_InitStruct);

  /*Configure GPIO pin : PG6 */
  GPIO_InitStruct.Pin = GPIO_PIN_6;
  GPIO_InitStruct.Mode = GPIO_MODE_OUTPUT_PP;
  GPIO_InitStruct.Pull = GPIO_NOPULL;
  GPIO_InitStruct.Speed = GPIO_SPEED_FREQ_LOW;
  HAL_GPIO_Init(GPIOG, &GPIO_InitStruct);

  /*Configure GPIO pin : USB_OverCurrent_Pin */
  GPIO_InitStruct.Pin = USB_OverCurrent_Pin;
  GPIO_InitStruct.Mode = GPIO_MODE_INPUT;
  GPIO_InitStruct.Pull = GPIO_NOPULL;
  HAL_GPIO_Init(USB_OverCurrent_GPIO_Port, &GPIO_InitStruct);

  /*Configure GPIO pins : USB_SOF_Pin USB_ID_Pin USB_DM_Pin USB_DP_Pin */
  GPIO_InitStruct.Pin = USB_SOF_Pin | USB_ID_Pin | USB_DM_Pin | USB_DP_Pin;
  GPIO_InitStruct.Mode = GPIO_MODE_AF_PP;
  GPIO_InitStruct.Pull = GPIO_NOPULL;
  GPIO_InitStruct.Speed = GPIO_SPEED_FREQ_VERY_HIGH;
  GPIO_InitStruct.Alternate = GPIO_AF10_OTG_FS;
  HAL_GPIO_Init(GPIOA, &GPIO_InitStruct);

  /*Configure GPIO pin : USB_VBUS_Pin */
  GPIO_InitStruct.Pin = USB_VBUS_Pin;
  GPIO_InitStruct.Mode = GPIO_MODE_INPUT;
  GPIO_InitStruct.Pull = GPIO_NOPULL;
  HAL_GPIO_Init(USB_VBUS_GPIO_Port, &GPIO_InitStruct);

  /*Configure GPIO pins : RMII_TX_EN_Pin RMII_TXD0_Pin */
  GPIO_InitStruct.Pin = RMII_TX_EN_Pin | RMII_TXD0_Pin;
  GPIO_InitStruct.Mode = GPIO_MODE_AF_PP;
  GPIO_InitStruct.Pull = GPIO_NOPULL;
  GPIO_InitStruct.Speed = GPIO_SPEED_FREQ_VERY_HIGH;
  GPIO_InitStruct.Alternate = GPIO_AF11_ETH;
  HAL_GPIO_Init(GPIOG, &GPIO_InitStruct);

  /* EXTI interrupt init*/
  HAL_NVIC_SetPriority(EXTI4_IRQn, 2, 0);
  HAL_NVIC_EnableIRQ(EXTI4_IRQn);

}

void Error_Handler(void)
{
  /* USER CODE BEGIN Error_Handler_Debug */
  /* User can add his own implementation to report the HAL error return state */
  __disable_irq();
  while (1)
  {
    static uint32_t kLed = 0;
    if (++kLed >= 1000)
    {
      kLed = 0;
      HAL_GPIO_TogglePin(LD3_GPIO_Port, LD3_Pin);
    }
  }
  /* USER CODE END Error_Handler_Debug */
}
